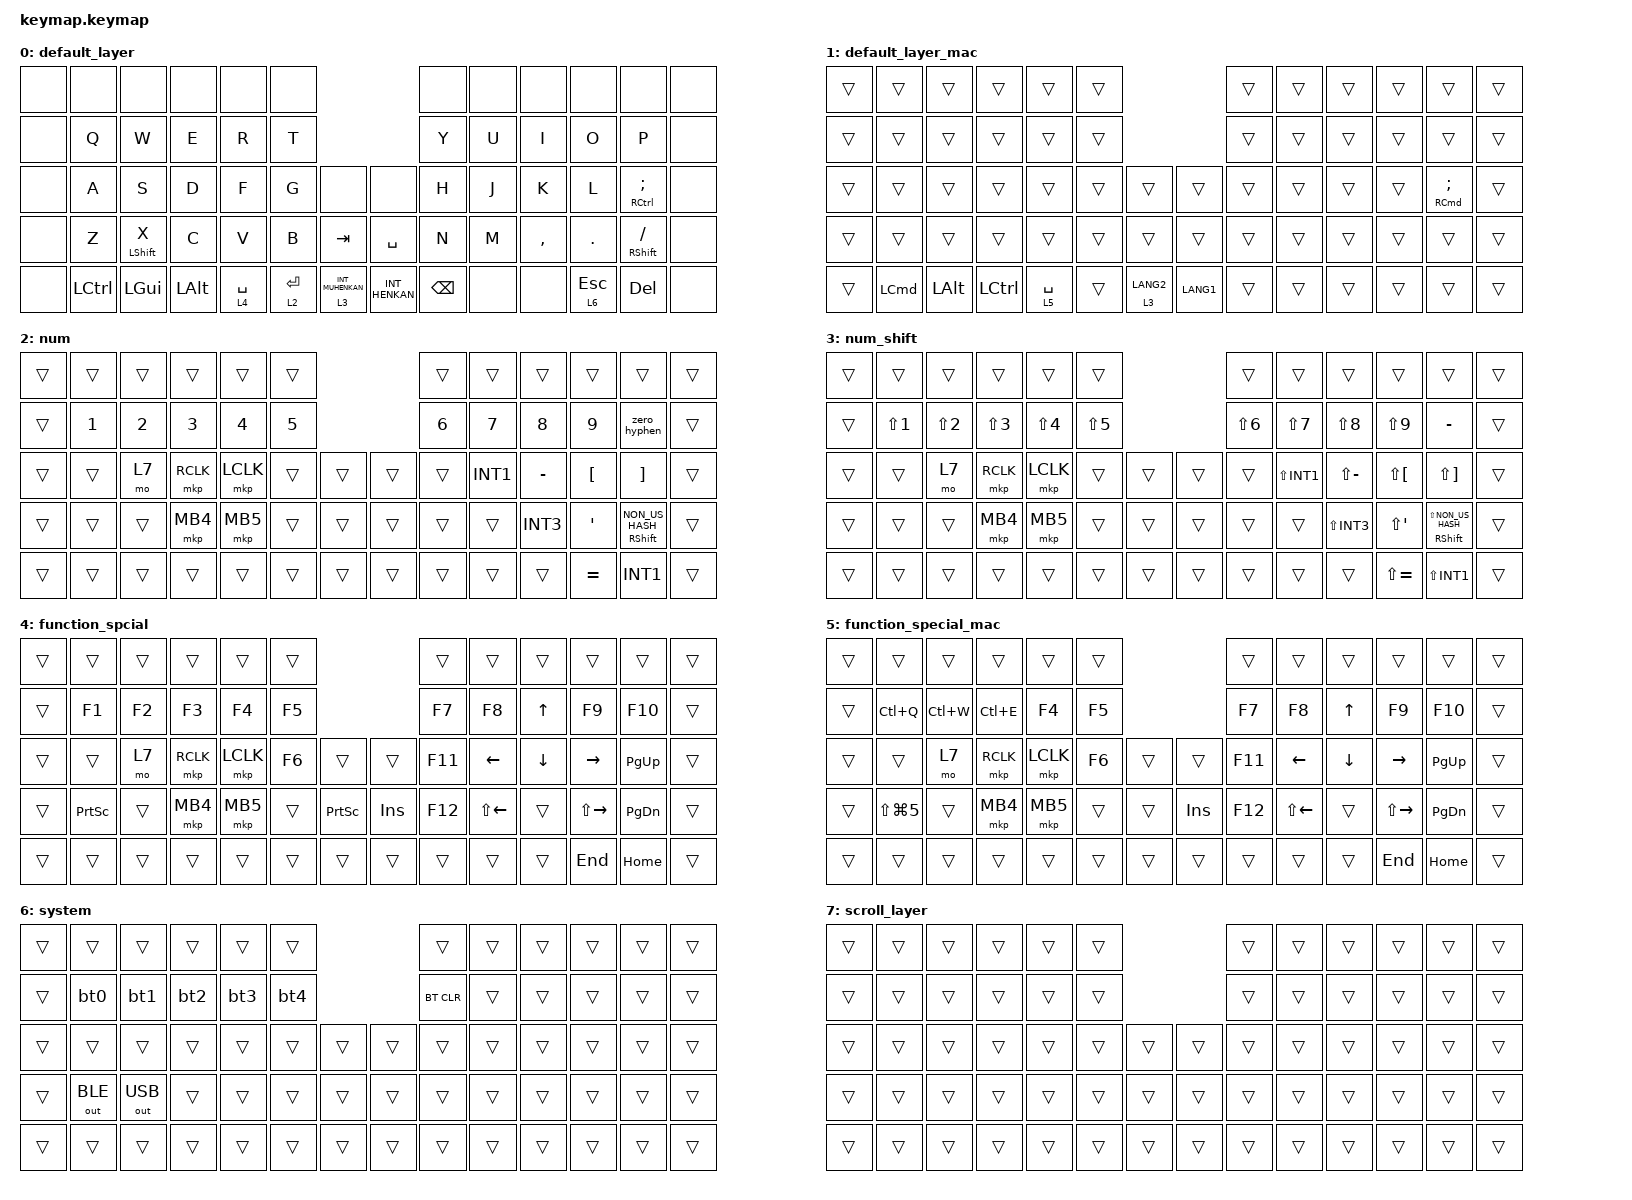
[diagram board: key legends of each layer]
#include <behaviors.dtsi>
#include <dt-bindings/zmk/bt.h>
#include <dt-bindings/zmk/keys.h>
#include <dt-bindings/zmk/outputs.h>
#include <dt-bindings/zmk/pointing.h>

/ {
    combos {
        compatible = "zmk,combos";

        bt_clear {
            bindings = <&bt BT_CLR>;
            key-positions = <28 29>;
            layers = <4>;
        };
    };

    behaviors {
        zero_hyphen: zero_hyphen {
            compatible = "zmk,behavior-mod-morph";
            label = "ZERO_HYPHEN";
            bindings = <&kp N0>, <&kp MINUS>;

            #binding-cells = <0>;
            mods = <(MOD_LSFT|MOD_RSFT)>;
        };

        caret_tilde: caret_tilde {
            compatible = "zmk,behavior-mod-morph";
            label = "CARET_TILDE";
            bindings = <&kp CARET>, <&kp TILDE>;

            #binding-cells = <0>;
            mods = <(MOD_LSFT|MOD_RSFT)>;
        };
    };

    macros {
        bt0: new_macro {
            compatible = "zmk,behavior-macro";
            #binding-cells = <0>;
            bindings = <&bt BT_SEL 0 &to 0>;
            label = "NEW_MACRO";
        };

        bt1: bt1 {
            compatible = "zmk,behavior-macro";
            #binding-cells = <0>;
            bindings = <&bt BT_SEL 1 &to 1>;
            label = "BT1";
        };

        bt2: bt2 {
            compatible = "zmk,behavior-macro";
            #binding-cells = <0>;
            bindings = <&bt BT_SEL 2 &to 0>;
            label = "BT2";
        };

        bt3: bt3 {
            compatible = "zmk,behavior-macro";
            #binding-cells = <0>;
            bindings = <&bt BT_SEL 3 &to 0>;
            label = "BT3";
        };

        bt4: bt4 {
            compatible = "zmk,behavior-macro";
            #binding-cells = <0>;
            bindings = <&bt BT_SEL 4 &to 0>;
            label = "BT4";
        };
    };

    keymap {
        compatible = "zmk,keymap";

        default_layer {
            bindings = <
&none  &none      &none        &none     &none        &none                                            &none          &none  &none      &none      &none                 &none
&none  &kp Q      &kp W        &kp E     &kp R        &kp T                                            &kp Y          &kp U  &kp I      &kp O      &kp P                 &none
&none  &kp A      &kp S        &kp D     &kp F        &kp G        &none               &none           &kp H          &kp J  &kp K      &kp L      &mt RCTRL SEMI        &none
&none  &kp Z      &mt LSHFT X  &kp C     &kp V        &kp B        &kp TAB             &kp SPACE       &kp N          &kp M  &kp COMMA  &kp DOT    &mt RIGHT_SHIFT FSLH  &none
&none  &kp LCTRL  &kp LGUI     &kp LALT  &lt 4 SPACE  &lt 2 ENTER  &lt 3 INT_MUHENKAN  &kp INT_HENKAN  &kp BACKSPACE  &none  &none      &lt 6 ESC  &kp DEL               &none
            >;
        };

        default_layer_mac {
            bindings = <
&trans  &trans            &trans        &trans            &trans       &trans                          &trans  &trans  &trans  &trans  &trans                  &trans
&trans  &trans            &trans        &trans            &trans       &trans                          &trans  &trans  &trans  &trans  &trans                  &trans
&trans  &trans            &trans        &trans            &trans       &trans  &trans       &trans     &trans  &trans  &trans  &trans  &mt RIGHT_COMMAND SEMI  &trans
&trans  &trans            &trans        &trans            &trans       &trans  &trans       &trans     &trans  &trans  &trans  &trans  &trans                  &trans
&trans  &kp LEFT_COMMAND  &kp LEFT_ALT  &kp LEFT_CONTROL  &lt 5 SPACE  &trans  &lt 3 LANG2  &kp LANG1  &trans  &trans  &trans  &trans  &trans                  &trans
            >;
        };

        num {
            bindings = <
&trans  &trans  &trans     &trans     &trans     &trans                  &trans  &trans    &trans     &trans     &trans                 &trans
&trans  &kp N1  &kp N2     &kp N3     &kp N4     &kp N5                  &kp N6  &kp N7    &kp N8     &kp N9     &zero_hyphen           &trans
&trans  &trans  &mo 7      &mkp RCLK  &mkp LCLK  &trans  &trans  &trans  &trans  &kp INT1  &kp MINUS  &kp LBKT   &kp RBKT               &trans
&trans  &trans  &trans     &mkp MB4   &mkp MB5   &trans  &trans  &trans  &trans  &trans    &kp INT3   &kp SQT    &mt RSHFT NON_US_HASH  &trans
&trans  &trans  &trans     &trans     &trans     &trans  &trans  &trans  &trans  &trans    &trans     &kp EQUAL  &kp INT1               &trans
            >;
        };

        num_shift {
            bindings = <
&trans  &trans      &trans      &trans      &trans      &trans                      &trans      &trans        &trans         &trans         &trans                     &trans
&trans  &kp LS(N1)  &kp LS(N2)  &kp LS(N3)  &kp LS(N4)  &kp LS(N5)                  &kp LS(N6)  &kp LS(N7)    &kp LS(N8)     &kp LS(N9)     &kp MINUS                  &trans
&trans  &trans      &mo 7        &mkp RCLK   &mkp LCLK   &trans      &trans  &trans  &trans      &kp LS(INT1)  &kp LS(MINUS)  &kp LS(LBKT)   &kp LS(RBKT)               &trans
&trans  &trans      &trans      &mkp MB4    &mkp MB5    &trans      &trans  &trans  &trans      &trans        &kp LS(INT3)   &kp LS(SQT)    &mt RSHFT LS(NON_US_HASH)  &trans
&trans  &trans      &trans      &trans      &trans      &trans      &trans  &trans  &trans      &trans        &trans         &kp LS(EQUAL)  &kp LS(INT1)               &trans
            >;
        };

        function_spcial {
            bindings = <
&trans  &trans           &trans     &trans     &trans     &trans                            &trans   &trans        &trans    &trans         &trans         &trans
&trans  &kp F1           &kp F2     &kp F3     &kp F4     &kp F5                            &kp F7   &kp F8        &kp UP    &kp F9         &kp F10        &trans
&trans  &trans           &mo 7      &mkp RCLK  &mkp LCLK  &kp F6  &trans           &trans   &kp F11  &kp LEFT      &kp DOWN  &kp RIGHT      &kp PG_UP      &trans
&trans  &kp PRINTSCREEN  &trans     &mkp MB4   &mkp MB5   &trans  &kp PRINTSCREEN  &kp INS  &kp F12  &kp LS(LEFT)  &trans    &kp LS(RIGHT)  &kp PAGE_DOWN  &trans
&trans  &trans           &trans     &trans     &trans     &trans  &trans           &trans   &trans   &trans        &trans    &kp END        &kp HOME       &trans
            >;
        };

        function_special_mac {
            bindings = <
&trans  &trans          &trans     &trans     &trans     &trans                   &trans   &trans        &trans    &trans         &trans         &trans
&trans  &kp LC(Q)       &kp LC(W)  &kp LC(E)  &kp F4     &kp F5                   &kp F7   &kp F8        &kp UP    &kp F9         &kp F10        &trans
&trans  &trans          &mo 7      &mkp RCLK  &mkp LCLK  &kp F6  &trans  &trans   &kp F11  &kp LEFT      &kp DOWN  &kp RIGHT      &kp PG_UP      &trans
&trans  &kp LS(LG(N5))  &trans     &mkp MB4   &mkp MB5   &trans  &trans  &kp INS  &kp F12  &kp LS(LEFT)  &trans    &kp LS(RIGHT)  &kp PAGE_DOWN  &trans
&trans  &trans          &trans     &trans     &trans     &trans  &trans  &trans   &trans   &trans        &trans    &kp END        &kp HOME       &trans
            >;
        };

        system {
            bindings = <
&trans  &trans        &trans        &trans  &trans  &trans                  &trans      &trans  &trans  &trans  &trans  &trans
&trans  &bt0          &bt1          &bt2    &bt3    &bt4                    &bt BT_CLR  &trans  &trans  &trans  &trans  &trans
&trans  &trans        &trans        &trans  &trans  &trans  &trans  &trans  &trans      &trans  &trans  &trans  &trans  &trans
&trans  &out OUT_BLE  &out OUT_USB  &trans  &trans  &trans  &trans  &trans  &trans      &trans  &trans  &trans  &trans  &trans
&trans  &trans        &trans        &trans  &trans  &trans  &trans  &trans  &trans      &trans  &trans  &trans  &trans  &trans
            >;
        };
        scroll_layer {
            bindings = <
&trans  &trans  &trans  &trans  &trans  &trans                  &trans  &trans  &trans  &trans  &trans  &trans
&trans  &trans  &trans  &trans  &trans  &trans                  &trans  &trans  &trans  &trans  &trans  &trans
&trans  &trans  &trans  &trans  &trans  &trans  &trans  &trans  &trans  &trans  &trans  &trans  &trans  &trans
&trans  &trans  &trans  &trans  &trans  &trans  &trans  &trans  &trans  &trans  &trans  &trans  &trans  &trans
&trans  &trans  &trans  &trans  &trans  &trans  &trans  &trans  &trans  &trans  &trans  &trans  &trans  &trans
            >;
        };
    };
};
